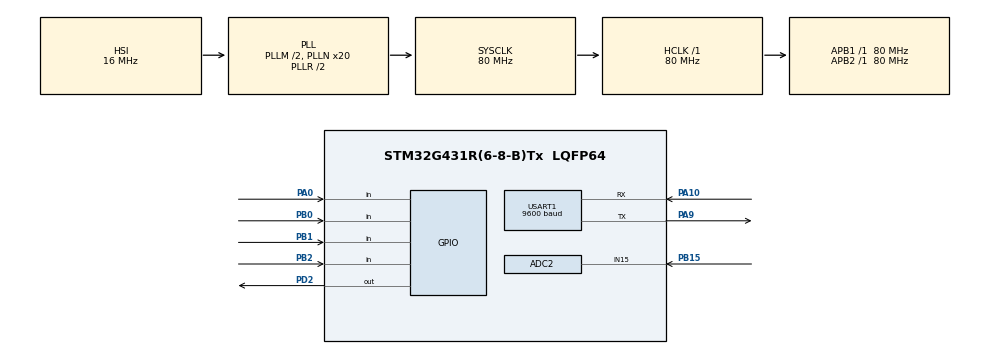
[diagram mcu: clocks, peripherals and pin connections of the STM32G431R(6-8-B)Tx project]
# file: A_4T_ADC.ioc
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ADC2.Channel-0\#ChannelRegularConversion=ADC_CHANNEL_15
ADC2.ClockPrescaler=ADC_CLOCK_ASYNC_DIV2
ADC2.NbrOfConversionFlag=1
ADC2.OffsetNumber-0\#ChannelRegularConversion=ADC_OFFSET_NONE
ADC2.Rank-0\#ChannelRegularConversion=1
ADC2.SamplingTime-0\#ChannelRegularConversion=ADC_SAMPLETIME_640CYCLES_5
Mcu.Family=STM32G4
Mcu.Name=STM32G431R(6-8-B)Tx
Mcu.Package=LQFP64
NVIC.ADC1_2_IRQn=true\:0\:0\:false\:false\:true\:true\:true\:true
NVIC.PriorityGroup=NVIC_PRIORITYGROUP_4
NVIC.USART1_IRQn=true\:0\:0\:false\:false\:true\:true\:true\:true
PA0.Signal=GPIO_Input
PA10.Mode=Asynchronous
PA10.Signal=USART1_RX
PA13.Mode=Serial_Wire
PA13.Signal=SYS_JTMS-SWDIO
PA14.Mode=Serial_Wire
PA14.Signal=SYS_JTCK-SWCLK
PA9.Mode=Asynchronous
PA9.Signal=USART1_TX
PB0.Signal=GPIO_Input
PB1.Signal=GPIO_Input
PB15.Mode=IN15-Single-Ended
PB15.Signal=ADC2_IN15
PB2.Signal=GPIO_Input
PD2.Signal=GPIO_Output
PF0-OSC_IN.Mode=HSE-External-Oscillator
PF0-OSC_IN.Signal=RCC_OSC_IN
PF1-OSC_OUT.Mode=HSE-External-Oscillator
PF1-OSC_OUT.Signal=RCC_OSC_OUT
ProjectManager.HeapSize=0x200
ProjectManager.StackSize=0x400
ProjectManager.TargetToolchain=MDK-ARM V5.32
RCC.ADC12Freq_Value=80000000
RCC.AHBFreq_Value=80000000
RCC.APB1Freq_Value=80000000
RCC.APB1TimFreq_Value=80000000
RCC.APB2Freq_Value=80000000
RCC.APB2TimFreq_Value=80000000
RCC.CortexFreq_Value=80000000
RCC.EXTERNAL_CLOCK_VALUE=12288000
RCC.HCLKFreq_Value=80000000
RCC.HSE_VALUE=24000000
RCC.HSI48_VALUE=48000000
RCC.HSI_VALUE=16000000
RCC.LSE_VALUE=32768
RCC.PLLM=RCC_PLLM_DIV2
RCC.PLLN=20
RCC.SYSCLKFreq_VALUE=80000000
RCC.SYSCLKSource=RCC_SYSCLKSOURCE_PLLCLK
RCC.USBFreq_Value=80000000
RCC.VCOOutputFreq_Value=160000000
USART1.BaudRate=9600
USART1.VirtualMode-Asynchronous=VM_ASYNC
VP_SYS_VS_DBSignals.Mode=DisableDeadBatterySignals
board=custom

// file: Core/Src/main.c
/* USER CODE BEGIN Header */
/**
  ******************************************************************************
  * @file           : main.c
  * @brief          : Main program body
  ******************************************************************************
  * @attention
  *
  * Copyright (c) 2024 STMicroelectronics.
  * All rights reserved.
  *
  * This software is licensed under terms that can be found in the LICENSE file
  * in the root directory of this software component.
  * If no LICENSE file comes with this software, it is provided AS-IS.
  *
  ******************************************************************************
  */
/* USER CODE END Header */
#include "main.h"
#include "adc.h"
#include "usart.h"
#include "gpio.h"

/* USER CODE BEGIN Includes */
#include "lcd.h"
#include "key.h"
#include "stdio.h"
#include "string.h"
#include "i2c_hal.h"
#include "led.h"

/* USER CODE END Includes */

/* USER CODE BEGIN PV */
float vr37;

__IO uint32_t lcd_uwtick;
__IO uint32_t key_uwtick;

uint8_t key_val,key_up,key_down,key_old;
uint8_t lcd_str[22];
uint8_t tr_str[50];
uint8_t rx;

uint8_t str1[5]={0x11,0x22,0x33,0x44,0x55};
uint8_t str2[5]={0};

uint8_t number = 7;
uint8_t number_new;

/* USER CODE END PV */

void SystemClock_Config(void);
/* USER CODE BEGIN PFP */
void lcd_proc(void);
void key_proc(void);
float get_adc(void);

/* USER CODE END PFP */

int main(void)
{

  /* MCU Configuration--------------------------------------------------------*/

  /* Reset of all peripherals, Initializes the Flash interface and the Systick. */
  HAL_Init();

  /* Configure the system clock */
  SystemClock_Config();

  /* Initialize all configured peripherals */
  MX_GPIO_Init();
  MX_ADC2_Init();
  MX_USART1_UART_Init();
  /* USER CODE BEGIN 2 */
  LCD_Init();
  LCD_Clear(Black);
  LCD_SetBackColor(Black);
  LCD_SetTextColor(White);

  led_disp(0x00);

//  LCD_DisplayStringLine(Line0,"hleoo");

	HAL_UART_Receive_IT(&huart1,&rx,1);

	I2CInit();
	iic_read(&number_new,0,1);
//	iic_write(str1,0,5);
//	HAL_Delay(1);
//	iic_read(str2,0,5);

  /* USER CODE END 2 */

  /* Infinite loop */
  /* USER CODE BEGIN WHILE */
  while (1)
  {
		lcd_proc();
//	  	vr37=get_adc();
		key_proc();

    /* USER CODE END WHILE */

  }
}

void SystemClock_Config(void)
{
  RCC_OscInitTypeDef RCC_OscInitStruct = {0};
  RCC_ClkInitTypeDef RCC_ClkInitStruct = {0};

  /** Configure the main internal regulator output voltage
  */
  HAL_PWREx_ControlVoltageScaling(PWR_REGULATOR_VOLTAGE_SCALE1);

  /** Initializes the RCC Oscillators according to the specified parameters
  * in the RCC_OscInitTypeDef structure.
  */
  RCC_OscInitStruct.OscillatorType = RCC_OSCILLATORTYPE_HSI;
  RCC_OscInitStruct.HSIState = RCC_HSI_ON;
  RCC_OscInitStruct.HSICalibrationValue = RCC_HSICALIBRATION_DEFAULT;
  RCC_OscInitStruct.PLL.PLLState = RCC_PLL_ON;
  RCC_OscInitStruct.PLL.PLLSource = RCC_PLLSOURCE_HSI;
  RCC_OscInitStruct.PLL.PLLM = RCC_PLLM_DIV2;
  RCC_OscInitStruct.PLL.PLLN = 20;
  RCC_OscInitStruct.PLL.PLLP = RCC_PLLP_DIV2;
  RCC_OscInitStruct.PLL.PLLQ = RCC_PLLQ_DIV2;
  RCC_OscInitStruct.PLL.PLLR = RCC_PLLR_DIV2;
  if (HAL_RCC_OscConfig(&RCC_OscInitStruct) != HAL_OK)
  {
    Error_Handler();
  }

  /** Initializes the CPU, AHB and APB buses clocks
  */
  RCC_ClkInitStruct.ClockType = RCC_CLOCKTYPE_HCLK|RCC_CLOCKTYPE_SYSCLK
                              |RCC_CLOCKTYPE_PCLK1|RCC_CLOCKTYPE_PCLK2;
  RCC_ClkInitStruct.SYSCLKSource = RCC_SYSCLKSOURCE_PLLCLK;
  RCC_ClkInitStruct.AHBCLKDivider = RCC_SYSCLK_DIV1;
  RCC_ClkInitStruct.APB1CLKDivider = RCC_HCLK_DIV1;
  RCC_ClkInitStruct.APB2CLKDivider = RCC_HCLK_DIV1;

  if (HAL_RCC_ClockConfig(&RCC_ClkInitStruct, FLASH_LATENCY_2) != HAL_OK)
  {
    Error_Handler();
  }
}

/* USER CODE BEGIN 4 */
void HAL_UART_RxCpltCallback(UART_HandleTypeDef *huart)
{
	if(rx=='X')
	{
		sprintf((char*)lcd_str,"      UART TEST      ");
		LCD_DisplayStringLine(Line4,lcd_str);
	}
	else
	{
		sprintf((char*)lcd_str,"       ERROR         ");
		LCD_DisplayStringLine(Line4,lcd_str);
	}
	HAL_UART_Receive_IT(&huart1,&rx,1);
}

void key_proc(void)
{
	if(uwTick-key_uwtick<50) return;
	key_uwtick=uwTick;

	key_val = key_scan();
	key_down  = key_val&(key_val^key_old);
	key_up  = ~key_val&(key_val^key_old);
	key_old = key_val;

//	if(key_down)
//	{
//		sprintf((char*)lcd_str,"key:%d      ",key_down);
//		LCD_DisplayStringLine(Line1,lcd_str);
//	}
//	if(key_down==4)
//	{
//
//		sprintf((char*)tr_str,"VR37:%.2fV\r\n",vr37);
//		HAL_UART_Transmit(&huart1,tr_str,strlen((char*)tr_str),50);
//	}

	if(key_down==1)
	{
		number++;
		I2CInit();
		iic_write(&number,0,1);
		HAL_Delay(1);
		iic_read(&number_new,0,1);
	}
	else if(key_down==2)
	{
		number--;
		I2CInit();
		iic_write(&number,0,1);
		HAL_Delay(1);
		iic_read(&number_new,0,1);
	}
}
void lcd_proc(void)
{
	if(uwTick-lcd_uwtick<500) return;
	lcd_uwtick=uwTick;

//	sprintf((char*)lcd_str,"E:%x,%x,%x,%x,%x",str1[0],str1[1],str1[2],str1[3],str1[4]);
//	LCD_DisplayStringLine(Line3,lcd_str);
//	sprintf((char*)lcd_str,"E:%x,%x,%x,%x,%x",str2[0],str2[1],str2[2],str2[3],str2[4]);
//	LCD_DisplayStringLine(Line4,lcd_str);

//	sprintf((char*)lcd_str,"        DATA        ");
//	LCD_DisplayStringLine(Line3,lcd_str);
//	vr37=get_adc();
//	sprintf((char*)lcd_str,"     VR37:%.2fV      ",vr37);
//	LCD_DisplayStringLine(Line4,lcd_str);

	sprintf((char*)lcd_str,"        DATA        ");
	LCD_DisplayStringLine(Line3,lcd_str);
	sprintf((char*)lcd_str,"      Number:%d    ",number);
	LCD_DisplayStringLine(Line4,lcd_str);

//	sprintf((char*)lcd_str,"      Number:%d    ",number_new);
//	LCD_DisplayStringLine(Line5,lcd_str);
}

float get_adc(void)
{
	float v;
	uint16_t adc;
	HAL_ADC_Start(&hadc2);
	adc=HAL_ADC_GetValue(&hadc2);
	v=3.3*adc/4096;
	return v;
}
/* USER CODE END 4 */

void Error_Handler(void)
{
  __disable_irq();
  while (1)
  {
  }
}
